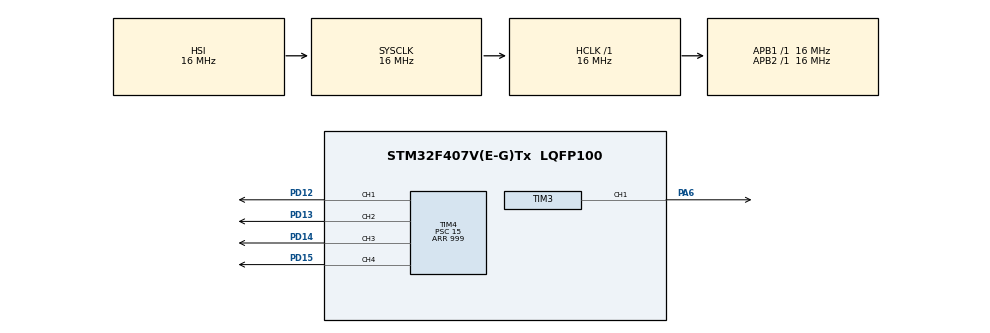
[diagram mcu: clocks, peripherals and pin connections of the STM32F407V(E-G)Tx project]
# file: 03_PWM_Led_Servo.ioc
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Mcu.Family=STM32F4
Mcu.Name=STM32F407V(E-G)Tx
Mcu.Package=LQFP100
NVIC.PriorityGroup=NVIC_PRIORITYGROUP_4
PA6.Signal=S_TIM3_CH1
PD12.Signal=S_TIM4_CH1
PD13.Signal=S_TIM4_CH2
PD14.Signal=S_TIM4_CH3
PD15.Signal=S_TIM4_CH4
ProjectManager.HeapSize=0x200
ProjectManager.StackSize=0x400
ProjectManager.TargetToolchain=STM32CubeIDE
RCC.AHBFreq_Value=16000000
RCC.APB1Freq_Value=16000000
RCC.APB2Freq_Value=16000000
RCC.CortexFreq_Value=16000000
RCC.HSE_VALUE=25000000
RCC.HSI_VALUE=16000000
RCC.LSE_VALUE=32768
RCC.SYSCLKFreq_VALUE=16000000
RCC.VCOOutputFreq_Value=192000000
SH.S_TIM3_CH1.0=TIM3_CH1,PWM Generation1 CH1
SH.S_TIM4_CH1.0=TIM4_CH1,PWM Generation1 CH1
SH.S_TIM4_CH2.0=TIM4_CH2,PWM Generation2 CH2
SH.S_TIM4_CH3.0=TIM4_CH3,PWM Generation3 CH3
SH.S_TIM4_CH4.0=TIM4_CH4,PWM Generation4 CH4
TIM3.Channel-PWM\ Generation1\ CH1=TIM_CHANNEL_1
TIM3.Period=19999
TIM3.Prescaler=15
TIM4.Channel-PWM\ Generation1\ CH1=TIM_CHANNEL_1
TIM4.Channel-PWM\ Generation2\ CH2=TIM_CHANNEL_2
TIM4.Channel-PWM\ Generation3\ CH3=TIM_CHANNEL_3
TIM4.Channel-PWM\ Generation4\ CH4=TIM_CHANNEL_4
TIM4.Period=999
TIM4.Prescaler=15
TIM4.Pulse-PWM\ Generation1\ CH1=249
TIM4.Pulse-PWM\ Generation2\ CH2=499
TIM4.Pulse-PWM\ Generation3\ CH3=749
TIM4.Pulse-PWM\ Generation4\ CH4=999
VP_TIM3_VS_ClockSourceINT.Mode=Internal
VP_TIM4_VS_ClockSourceINT.Mode=Internal
board=custom

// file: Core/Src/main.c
/* USER CODE BEGIN Header */
/**
  ******************************************************************************
  * @file           : main.c
  * @brief          : Main program body
  ******************************************************************************
  * @attention
  *
  * Copyright (c) 2026 STMicroelectronics.
  * All rights reserved.
  *
  * This software is licensed under terms that can be found in the LICENSE file
  * in the root directory of this software component.
  * If no LICENSE file comes with this software, it is provided AS-IS.
  *
  ******************************************************************************
  */
/* USER CODE END Header */
#include "main.h"

TIM_HandleTypeDef htim3;
TIM_HandleTypeDef htim4;

void SystemClock_Config(void);
static void MX_GPIO_Init(void);
static void MX_TIM4_Init(void);
static void MX_TIM3_Init(void);

/* USER CODE BEGIN 0 */

void Set_ServoMotor_Angle(uint8_t angle){

	if(angle > 180)
		angle = 180;

	uint16_t minPulse = 500;  // 0.5 ms
	uint16_t maxPulse = 2500; // 2.5 ms

	uint16_t pulse = minPulse + ((uint32_t)(maxPulse - minPulse) * angle) / 180;

	__HAL_TIM_SetCompare(&htim3, TIM_CHANNEL_1, pulse);
}

/* USER CODE END 0 */

int main(void)
{

  /* MCU Configuration--------------------------------------------------------*/

  /* Reset of all peripherals, Initializes the Flash interface and the Systick. */
  HAL_Init();

  /* Configure the system clock */
  SystemClock_Config();

  /* Initialize all configured peripherals */
  MX_GPIO_Init();
  MX_TIM4_Init();
  MX_TIM3_Init();
  /* USER CODE BEGIN 2 */
/*
  HAL_TIM_PWM_Start(&htim4, TIM_CHANNEL_1); // % 25 duty
  HAL_TIM_PWM_Start(&htim4, TIM_CHANNEL_2);	// % 50 duty
  HAL_TIM_PWM_Start(&htim4, TIM_CHANNEL_3);	// % 75 duty
  HAL_TIM_PWM_Start(&htim4, TIM_CHANNEL_4);	// % 100 duty
*/
  HAL_TIM_PWM_Start(&htim3, TIM_CHANNEL_1);
  /* USER CODE END 2 */

  /* Infinite loop */
  while (1)
  {

    /* USER CODE BEGIN 3 */

/*
	  uint16_t brightness = 0;

	  for(brightness = 0; brightness <= 999; brightness++){
		  __HAL_TIM_SET_COMPARE(&htim4, TIM_CHANNEL_1, brightness);
		  __HAL_TIM_SET_COMPARE(&htim4, TIM_CHANNEL_2, brightness);
		  __HAL_TIM_SET_COMPARE(&htim4, TIM_CHANNEL_3, brightness);
		  __HAL_TIM_SET_COMPARE(&htim4, TIM_CHANNEL_4, brightness);
		  HAL_Delay(1);
	  }

	  for(brightness = 999; brightness > 0; brightness--){
			  __HAL_TIM_SET_COMPARE(&htim4, TIM_CHANNEL_1, brightness);
			  __HAL_TIM_SET_COMPARE(&htim4, TIM_CHANNEL_2, brightness);
			  __HAL_TIM_SET_COMPARE(&htim4, TIM_CHANNEL_3, brightness);
			  __HAL_TIM_SET_COMPARE(&htim4, TIM_CHANNEL_4, brightness);
			  HAL_Delay(1);
		  }
*/

	  for(int i = 0; i < 180; i++){
		  Set_ServoMotor_Angle(i);
		  HAL_Delay(10);
	  }

	  for(int i = 180; i > 0; i--){
		  Set_ServoMotor_Angle(i);
		  HAL_Delay(10);
	  }
	  HAL_Delay(1000);
  }
  /* USER CODE END 3 */
}

void SystemClock_Config(void)
{
  RCC_OscInitTypeDef RCC_OscInitStruct = {0};
  RCC_ClkInitTypeDef RCC_ClkInitStruct = {0};

  /** Configure the main internal regulator output voltage
  */
  __HAL_RCC_PWR_CLK_ENABLE();
  __HAL_PWR_VOLTAGESCALING_CONFIG(PWR_REGULATOR_VOLTAGE_SCALE1);

  /** Initializes the RCC Oscillators according to the specified parameters
  * in the RCC_OscInitTypeDef structure.
  */
  RCC_OscInitStruct.OscillatorType = RCC_OSCILLATORTYPE_HSI;
  RCC_OscInitStruct.HSIState = RCC_HSI_ON;
  RCC_OscInitStruct.HSICalibrationValue = RCC_HSICALIBRATION_DEFAULT;
  RCC_OscInitStruct.PLL.PLLState = RCC_PLL_NONE;
  if (HAL_RCC_OscConfig(&RCC_OscInitStruct) != HAL_OK)
  {
    Error_Handler();
  }

  /** Initializes the CPU, AHB and APB buses clocks
  */
  RCC_ClkInitStruct.ClockType = RCC_CLOCKTYPE_HCLK|RCC_CLOCKTYPE_SYSCLK
                              |RCC_CLOCKTYPE_PCLK1|RCC_CLOCKTYPE_PCLK2;
  RCC_ClkInitStruct.SYSCLKSource = RCC_SYSCLKSOURCE_HSI;
  RCC_ClkInitStruct.AHBCLKDivider = RCC_SYSCLK_DIV1;
  RCC_ClkInitStruct.APB1CLKDivider = RCC_HCLK_DIV1;
  RCC_ClkInitStruct.APB2CLKDivider = RCC_HCLK_DIV1;

  if (HAL_RCC_ClockConfig(&RCC_ClkInitStruct, FLASH_LATENCY_0) != HAL_OK)
  {
    Error_Handler();
  }
}

static void MX_TIM3_Init(void)
{

  TIM_ClockConfigTypeDef sClockSourceConfig = {0};
  TIM_MasterConfigTypeDef sMasterConfig = {0};
  TIM_OC_InitTypeDef sConfigOC = {0};

  htim3.Instance = TIM3;
  htim3.Init.Prescaler = 15;
  htim3.Init.CounterMode = TIM_COUNTERMODE_UP;
  htim3.Init.Period = 19999;
  htim3.Init.ClockDivision = TIM_CLOCKDIVISION_DIV1;
  htim3.Init.AutoReloadPreload = TIM_AUTORELOAD_PRELOAD_DISABLE;
  if (HAL_TIM_Base_Init(&htim3) != HAL_OK)
  {
    Error_Handler();
  }
  sClockSourceConfig.ClockSource = TIM_CLOCKSOURCE_INTERNAL;
  if (HAL_TIM_ConfigClockSource(&htim3, &sClockSourceConfig) != HAL_OK)
  {
    Error_Handler();
  }
  if (HAL_TIM_PWM_Init(&htim3) != HAL_OK)
  {
    Error_Handler();
  }
  sMasterConfig.MasterOutputTrigger = TIM_TRGO_RESET;
  sMasterConfig.MasterSlaveMode = TIM_MASTERSLAVEMODE_DISABLE;
  if (HAL_TIMEx_MasterConfigSynchronization(&htim3, &sMasterConfig) != HAL_OK)
  {
    Error_Handler();
  }
  sConfigOC.OCMode = TIM_OCMODE_PWM1;
  sConfigOC.Pulse = 0;
  sConfigOC.OCPolarity = TIM_OCPOLARITY_HIGH;
  sConfigOC.OCFastMode = TIM_OCFAST_DISABLE;
  if (HAL_TIM_PWM_ConfigChannel(&htim3, &sConfigOC, TIM_CHANNEL_1) != HAL_OK)
  {
    Error_Handler();
  }
  HAL_TIM_MspPostInit(&htim3);

}

static void MX_TIM4_Init(void)
{

  TIM_ClockConfigTypeDef sClockSourceConfig = {0};
  TIM_MasterConfigTypeDef sMasterConfig = {0};
  TIM_OC_InitTypeDef sConfigOC = {0};

  htim4.Instance = TIM4;
  htim4.Init.Prescaler = 15;
  htim4.Init.CounterMode = TIM_COUNTERMODE_UP;
  htim4.Init.Period = 999;
  htim4.Init.ClockDivision = TIM_CLOCKDIVISION_DIV1;
  htim4.Init.AutoReloadPreload = TIM_AUTORELOAD_PRELOAD_DISABLE;
  if (HAL_TIM_Base_Init(&htim4) != HAL_OK)
  {
    Error_Handler();
  }
  sClockSourceConfig.ClockSource = TIM_CLOCKSOURCE_INTERNAL;
  if (HAL_TIM_ConfigClockSource(&htim4, &sClockSourceConfig) != HAL_OK)
  {
    Error_Handler();
  }
  if (HAL_TIM_PWM_Init(&htim4) != HAL_OK)
  {
    Error_Handler();
  }
  sMasterConfig.MasterOutputTrigger = TIM_TRGO_RESET;
  sMasterConfig.MasterSlaveMode = TIM_MASTERSLAVEMODE_DISABLE;
  if (HAL_TIMEx_MasterConfigSynchronization(&htim4, &sMasterConfig) != HAL_OK)
  {
    Error_Handler();
  }
  sConfigOC.OCMode = TIM_OCMODE_PWM1;
  sConfigOC.Pulse = 249;
  sConfigOC.OCPolarity = TIM_OCPOLARITY_HIGH;
  sConfigOC.OCFastMode = TIM_OCFAST_DISABLE;
  if (HAL_TIM_PWM_ConfigChannel(&htim4, &sConfigOC, TIM_CHANNEL_1) != HAL_OK)
  {
    Error_Handler();
  }
  sConfigOC.Pulse = 499;
  if (HAL_TIM_PWM_ConfigChannel(&htim4, &sConfigOC, TIM_CHANNEL_2) != HAL_OK)
  {
    Error_Handler();
  }
  sConfigOC.Pulse = 749;
  if (HAL_TIM_PWM_ConfigChannel(&htim4, &sConfigOC, TIM_CHANNEL_3) != HAL_OK)
  {
    Error_Handler();
  }
  sConfigOC.Pulse = 999;
  if (HAL_TIM_PWM_ConfigChannel(&htim4, &sConfigOC, TIM_CHANNEL_4) != HAL_OK)
  {
    Error_Handler();
  }
  HAL_TIM_MspPostInit(&htim4);

}

static void MX_GPIO_Init(void)
{

  /* GPIO Ports Clock Enable */
  __HAL_RCC_GPIOA_CLK_ENABLE();
  __HAL_RCC_GPIOD_CLK_ENABLE();

}

void Error_Handler(void)
{
  __disable_irq();
  while (1)
  {
  }
}
